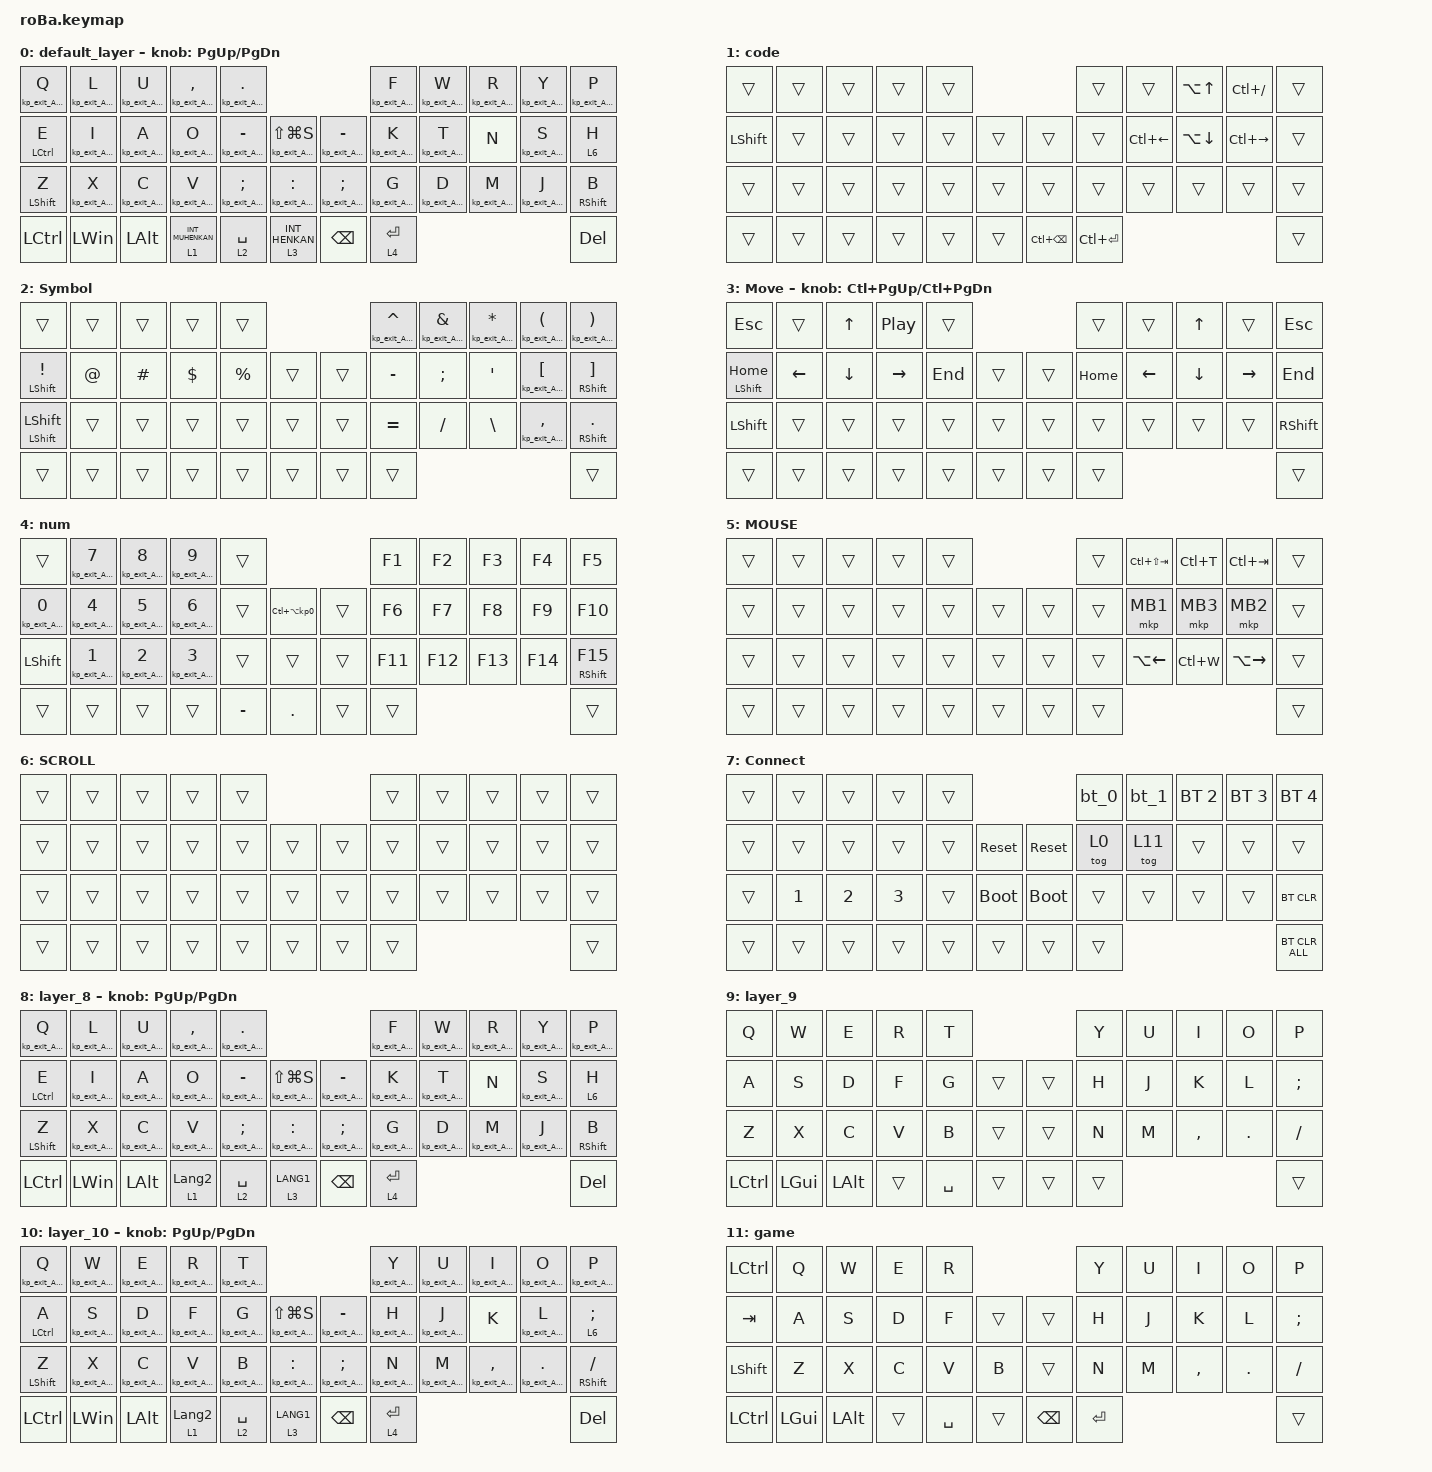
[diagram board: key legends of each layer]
#include <input/processors.dtsi>
#include <behaviors.dtsi>
#include <dt-bindings/zmk/bt.h>
#include <dt-bindings/zmk/keys.h>
#include <dt-bindings/zmk/pointing.h>

#define MOUSE 5

&mt {
    flavor = "balanced";
    quick-tap-ms = <0>;
};

&trackball {
    automouse-layer = <5>;
    scroll-layers = <6>;

    // arrows {
    //     layers = <3>;
    //     bindings =
    //         <&kp RIGHT_ARROW>,
    //         <&kp LEFT_ARROW>,
    //         <&kp UP_ARROW>,
    //         <&kp DOWN_ARROW>;
    //     tick = <10>;
    //     wait-ms = <5>;
    //     tap-ms = <5>;
    // };
};

&mkp_input_listener { input-processors = <&zip_temp_layer 5 250>; };

/ {
    combos {
        compatible = "zmk,combos";

        muhennkann {
            bindings = <&to_layer_0 INT_MUHENKAN>;
            key-positions = <11 10>;
            layers = <7>;
        };

        double_quotation {
            bindings = <&kp DOUBLE_QUOTES>;
            key-positions = <20 21>;
        };

        eq {
            bindings = <&kp EQUAL>;
            key-positions = <24 25>;
        };

        esc {
            bindings = <&kp_exit_AML ESCAPE>;
            key-positions = <0 1>;
        };

        next {
            bindings = <&kp A>;
            key-positions = <6 8>;
            layers = <6>;
        };

        layer_connect {
            bindings = <&mo 7>;
            key-positions = <40 41>;
            layers = <0 11>;
        };

        layer_connect1 {
            bindings = <&mo 7>;
            key-positions = <38 39>;
            layers = <0 11>;
        };
    };

    macros {
        to_layer_0: to_layer_0 {
            compatible = "zmk,behavior-macro-one-param";
            #binding-cells = <1>;
            bindings = <&to 0 &macro_param_1to1 &kp MACRO_PLACEHOLDER>;
            label = "TO_LAYER_0";
        };

        exit_AML: exit_AML {
            compatible = "zmk,behavior-macro";
            wait-ms = <0>;
            tap-ms = <0>;
            #binding-cells = <0>;
            bindings = <&tog_off 0>;
            label = "exit_AML";
        };

        kp_exit_AML: kp_exit_AML {
            compatible = "zmk,behavior-macro-one-param";
            wait-ms = <0>;
            tap-ms = <0>;
            #binding-cells = <1>;
            bindings = <&macro_param_1to1 &kp MACRO_PLACEHOLDER &exit_AML>;
            label = "KP_exit_AML";
        };

        mt_exit_AML: mt_exit_AML {
            compatible = "zmk,behavior-macro-one-param";
            wait-ms = <0>;
            tap-ms = <0>;
            #binding-cells = <1>;
            bindings = <&exit_AML &macro_param_1to1 &kp MACRO_PLACEHOLDER>;
            label = "MT_exit_AML";
        };

        bt_0: bt_linux {
            compatible = "zmk,behavior-macro";
            #binding-cells = <0>;
            bindings =
                <&tog_off 0>,
                <&macro_wait_time 200>,
                <&bt BT_SEL 0>,
                <&macro_wait_time 500>,
                <&tog_on 0>;

            label = "BT_LINUX";
        };

        bt_1: bt_1 {
            compatible = "zmk,behavior-macro";
            #binding-cells = <0>;
            bindings =
                <&tog_off 0>,
                <&macro_wait_time 200>,
                <&bt BT_SEL 1>,
                <&macro_wait_time 500>,
                <&tog_on 11>;

            label = "BT_1";
        };

        layer_0: layer_0 {
            compatible = "zmk,behavior-macro";
            #binding-cells = <0>;
            bindings = <&tog_off 0>, <&macro_wait_time 200>, <&tog_on 0>;

            label = "LAYER_0";
        };

        layer_l: layer_l {
            compatible = "zmk,behavior-macro";
            #binding-cells = <0>;
            bindings = <&tog_off 0>, <&macro_wait_time 200>, <&tog_on 11>;

            label = "LAYER_L";
        };
    };

    behaviors {
        lt_to_layer_0: lt_to_layer_0 {
            compatible = "zmk,behavior-hold-tap";
            label = "LAYER_TAP_TO_0";
            bindings = <&mo>, <&to_layer_0>;

            #binding-cells = <2>;
            tapping-term-ms = <200>;
        };

        tog_on: toggle_layer_on_only {
            compatible = "zmk,behavior-toggle-layer";
            #binding-cells = <1>;
            display-name = "Toggle Layer On";
            toggle-mode = "on";
        };

        tog_off: toggle_layer_off {
            compatible = "zmk,behavior-toggle-layer";
            #binding-cells = <1>;
            display-name = "Toggle Layer Off";
            toggle-mode = "off";
        };

        mt_exit_AML_on_tap: mt_exit_AML_on_tap {
            compatible = "zmk,behavior-hold-tap";
            label = "MT_exit_AML_ON_TAP";
            bindings = <&kp>, <&kp_exit_AML>;

            #binding-cells = <2>;
            tapping-term-ms = <200>;
            flavor = "balanced";
            quick-tap-ms = <200>;
        };

        mt_exit_AML_: mt_exit_AML {
            compatible = "zmk,behavior-hold-tap";
            label = "MT_exit_AML";
            bindings = <&mo>, <&mt_exit_AML>;

            #binding-cells = <2>;
            tapping-term-ms = <200>;
            flavor = "balanced";
            quick-tap-ms = <200>;
        };
    };

    keymap {
        compatible = "zmk,keymap";

        default_layer {
            bindings = <
&kp_exit_AML Q               &kp_exit_AML L  &kp_exit_AML U  &kp_exit_AML COMMA             &kp_exit_AML DOT                                                             &kp_exit_AML F          &kp_exit_AML W  &kp_exit_AML R  &kp_exit_AML Y  &kp_exit_AML P
&mt LCTRL E                  &kp_exit_AML I  &kp_exit_AML A  &kp_exit_AML O                 &kp_exit_AML MINUS  &kp_exit_AML LS(LG(S))           &kp_exit_AML MINUS      &kp_exit_AML K          &kp_exit_AML T  &kp N           &kp_exit_AML S  &lt 6 H
&mt_exit_AML_on_tap LSHFT Z  &kp_exit_AML X  &kp_exit_AML C  &kp_exit_AML V                 &kp_exit_AML SEMI   &kp_exit_AML COLON               &kp_exit_AML SEMICOLON  &kp_exit_AML G          &kp_exit_AML D  &kp_exit_AML M  &kp_exit_AML J  &mt_exit_AML_on_tap RSHFT B
&kp LCTRL                    &kp LEFT_WIN    &kp LEFT_ALT    &lt_to_layer_0 1 INT_MUHENKAN  &lt 2 SPACE         &lt_to_layer_0 3 INT_HENKAN      &kp BACKSPACE           &lt_to_layer_0 4 ENTER                                                  &kp DEL
            >;

            sensor-bindings = <&inc_dec_kp PG_UP PAGE_DOWN>;
        };

        code {
            bindings = <
&trans          &trans  &trans  &trans  &trans                                 &trans         &trans        &kp LA(UP_ARROW)  &kp LC(SLASH)  &trans
&kp LEFT_SHIFT  &trans  &trans  &trans  &trans  &trans      &trans             &trans         &kp LC(LEFT)  &kp LA(DOWN)      &kp LC(RIGHT)  &trans
&trans          &trans  &trans  &trans  &trans  &trans      &trans             &trans         &trans        &trans            &trans         &trans
&trans          &trans  &trans  &trans  &trans  &trans      &kp LC(BACKSPACE)  &kp LC(ENTER)                                                 &trans
            >;
        };

        Symbol {
            bindings = <
&trans                     &trans  &trans    &trans      &trans                           &kp_exit_AML CARET  &kp_exit_AML AMPERSAND  &kp_exit_AML ASTERISK  &kp_exit_AML LEFT_PARENTHESIS  &kp_exit_AML RIGHT_PARENTHESIS
&mt LSHFT EXCLAMATION      &kp AT  &kp HASH  &kp DOLLAR  &kp PERCENT  &trans      &trans  &kp MINUS           &kp SEMICOLON           &kp SINGLE_QUOTE       &kp_exit_AML LEFT_BRACKET      &mt RSHIFT RIGHT_BRACKET
&mt LEFT_SHIFT LEFT_SHIFT  &trans  &trans    &trans      &trans       &trans      &trans  &kp EQUAL           &kp SLASH               &kp BACKSLASH          &kp_exit_AML COMMA             &mt RIGHT_SHIFT PERIOD
&trans                     &trans  &trans    &trans      &trans       &trans      &trans  &trans                                                                                            &trans
            >;
        };

        Move {
            bindings = <
&kp ESCAPE           &trans          &kp UP_ARROW    &kp C_PLAY_PAUSE  &trans                       &trans    &trans    &kp UP_ARROW    &trans     &kp ESCAPE
&mt LEFT_SHIFT HOME  &kp LEFT_ARROW  &kp DOWN_ARROW  &kp RIGHT_ARROW   &kp END  &trans      &trans  &kp HOME  &kp LEFT  &kp DOWN_ARROW  &kp RIGHT  &kp END
&kp LEFT_SHIFT       &trans          &trans          &trans            &trans   &trans      &trans  &trans    &trans    &trans          &trans     &kp RSHIFT
&trans               &trans          &trans          &trans            &trans   &trans      &trans  &trans                                         &trans
            >;

            sensor-bindings = <&inc_dec_kp LC(PAGE_UP) LC(PAGE_DOWN)>;
        };

        num {
            bindings = <
&trans           &kp_exit_AML N7        &kp_exit_AML N8        &kp_exit_AML N9        &trans                                          &kp F1   &kp F2   &kp F3   &kp F4   &kp F5
&kp_exit_AML N0  &kp_exit_AML NUMBER_4  &kp_exit_AML N5        &kp_exit_AML NUMBER_6  &trans     &kp LC(LA(KP_NUMBER_0))      &trans  &kp F6   &kp F7   &kp F8   &kp F9   &kp F10
&kp LEFT_SHIFT   &kp_exit_AML NUMBER_1  &kp_exit_AML NUMBER_2  &kp_exit_AML NUMBER_3  &trans     &trans                       &trans  &kp F11  &kp F12  &kp F13  &kp F14  &mt RIGHT_SHIFT F15
&trans           &trans                 &trans                 &trans                 &kp MINUS  &kp PERIOD                   &trans  &trans                              &trans
            >;
        };

        MOUSE {
            bindings = <
&trans  &trans  &trans  &trans  &trans                      &trans  &kp LC(LS(TAB))     &kp LC(T)  &kp LC(TAB)    &trans
&trans  &trans  &trans  &trans  &trans  &trans      &trans  &trans  &mkp MB1            &mkp MB3   &mkp MB2       &trans
&trans  &trans  &trans  &trans  &trans  &trans      &trans  &trans  &kp LA(LEFT_ARROW)  &kp LC(W)  &kp LA(RIGHT)  &trans
&trans  &trans  &trans  &trans  &trans  &trans      &trans  &trans                                                &trans
            >;
        };

        SCROLL {
            bindings = <
&trans  &trans  &trans  &trans  &trans                      &trans  &trans  &trans  &trans  &trans
&trans  &trans  &trans  &trans  &trans  &trans      &trans  &trans  &trans  &trans  &trans  &trans
&trans  &trans  &trans  &trans  &trans  &trans      &trans  &trans  &trans  &trans  &trans  &trans
&trans  &trans  &trans  &trans  &trans  &trans      &trans  &trans                          &trans
            >;
        };

        Connect {
            bindings = <
&trans  &trans        &trans        &trans        &trans                                &bt_0   &bt_1    &bt BT_SEL 2  &bt BT_SEL 3  &bt BT_SEL 4
&trans  &trans        &trans        &trans        &trans  &sys_reset       &sys_reset   &tog 0  &tog 11  &trans        &trans        &trans
&trans  &kp NUMBER_1  &kp NUMBER_2  &kp NUMBER_3  &trans  &bootloader      &bootloader  &trans  &trans   &trans        &trans        &bt BT_CLR
&trans  &trans        &trans        &trans        &trans  &trans           &trans       &trans                                       &bt BT_CLR_ALL
            >;
        };

        layer_8 {
            bindings = <
&kp_exit_AML Q               &kp_exit_AML L  &kp_exit_AML U  &kp_exit_AML COMMA           &kp_exit_AML DOT                                                        &kp_exit_AML F          &kp_exit_AML W  &kp_exit_AML R  &kp_exit_AML Y  &kp_exit_AML P
&mt LCTRL E                  &kp_exit_AML I  &kp_exit_AML A  &kp_exit_AML O               &kp_exit_AML MINUS  &kp_exit_AML LS(LG(S))      &kp_exit_AML MINUS      &kp_exit_AML K          &kp_exit_AML T  &kp N           &kp_exit_AML S  &lt 6 H
&mt_exit_AML_on_tap LSHFT Z  &kp_exit_AML X  &kp_exit_AML C  &kp_exit_AML V               &kp_exit_AML SEMI   &kp_exit_AML COLON          &kp_exit_AML SEMICOLON  &kp_exit_AML G          &kp_exit_AML D  &kp_exit_AML M  &kp_exit_AML J  &mt_exit_AML_on_tap RSHFT B
&kp LCTRL                    &kp LEFT_WIN    &kp LEFT_ALT    &lt_to_layer_0 1 LANGUAGE_2  &lt 2 SPACE         &lt_to_layer_0 3 LANG1      &kp BACKSPACE           &lt_to_layer_0 4 ENTER                                                  &kp DEL
            >;

            sensor-bindings = <&inc_dec_kp PG_UP PAGE_DOWN>;
        };

        layer_9 {
            bindings = <
&kp Q      &kp W     &kp E     &kp R   &kp T                          &kp Y   &kp U  &kp I      &kp O    &kp P
&kp A      &kp S     &kp D     &kp F   &kp G      &trans      &trans  &kp H   &kp J  &kp K      &kp L    &kp SEMI
&kp Z      &kp X     &kp C     &kp V   &kp B      &trans      &trans  &kp N   &kp M  &kp COMMA  &kp DOT  &kp FSLH
&kp LCTRL  &kp LGUI  &kp LALT  &trans  &kp SPACE  &trans      &trans  &trans                             &trans
            >;
        };

        layer_10 {
            bindings = <
&kp_exit_AML Q               &kp_exit_AML W  &kp_exit_AML E  &kp_exit_AML R               &kp_exit_AML T                                                      &kp_exit_AML Y          &kp_exit_AML U  &kp_exit_AML I      &kp_exit_AML O       &kp_exit_AML P
&mt LCTRL A                  &kp_exit_AML S  &kp_exit_AML D  &kp_exit_AML F               &kp_exit_AML G  &kp_exit_AML LS(LG(S))      &kp_exit_AML MINUS      &kp_exit_AML H          &kp_exit_AML J  &kp K               &kp_exit_AML L       &lt 6 SEMICOLON
&mt_exit_AML_on_tap LSHFT Z  &kp_exit_AML X  &kp_exit_AML C  &kp_exit_AML V               &kp_exit_AML B  &kp_exit_AML COLON          &kp_exit_AML SEMICOLON  &kp_exit_AML N          &kp_exit_AML M  &kp_exit_AML COMMA  &kp_exit_AML PERIOD  &mt_exit_AML_on_tap RSHFT SLASH
&kp LCTRL                    &kp LEFT_WIN    &kp LEFT_ALT    &lt_to_layer_0 1 LANGUAGE_2  &lt 2 SPACE     &lt_to_layer_0 3 LANG1      &kp BACKSPACE           &lt_to_layer_0 4 ENTER                                                           &kp DEL
            >;

            sensor-bindings = <&inc_dec_kp PG_UP PAGE_DOWN>;
        };

        game {
            bindings = <
&kp LCTRL  &kp Q     &kp W     &kp E   &kp R                            &kp Y      &kp U  &kp I      &kp O    &kp P
&kp TAB    &kp A     &kp S     &kp D   &kp F      &trans      &trans    &kp H      &kp J  &kp K      &kp L    &kp SEMI
&kp LSHFT  &kp Z     &kp X     &kp C   &kp V      &kp B       &trans    &kp N      &kp M  &kp COMMA  &kp DOT  &kp FSLH
&kp LCTRL  &kp LGUI  &kp LALT  &trans  &kp SPACE  &trans      &kp BSPC  &kp ENTER                             &trans
            >;
        };
    };
};
